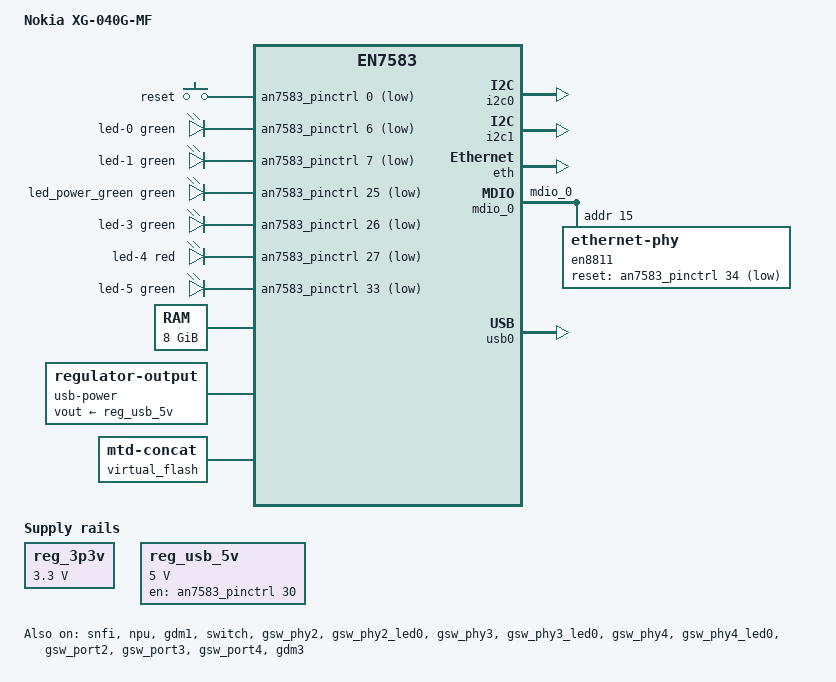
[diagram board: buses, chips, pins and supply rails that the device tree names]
// SPDX-License-Identifier: (GPL-2.0-only OR BSD-2-Clause)
/dts-v1/;

#include <dt-bindings/leds/common.h>
#include <dt-bindings/gpio/gpio.h>
#include <dt-bindings/input/input.h>
#include "an7583.dtsi"

/ {
	model = "Nokia XG-040G-MF";
	compatible = "nokia,xg-040g-mf", "airoha,an7583", "airoha,en7583";

	aliases {
		label-mac-device = &gdm1;

		led-boot = &led_power_green;
		led-failsafe = &led_power_green;
		led-running = &led_power_green;
		led-upgrade = &led_power_green;

		serial0 = &uart1;
	};

	chosen {
		bootargs = "console=ttyS0,115200 earlycon nokaslr rodata=off mem=510M";
		stdout-path = "serial0:115200n8";
	};

	gpio-keys {
		compatible = "gpio-keys";

		button-0 {
			label = "reset";
			linux,code = <KEY_RESTART>;
			gpios = <&an7583_pinctrl 0 GPIO_ACTIVE_LOW>;
		};
	};

	leds {
		compatible = "gpio-leds";

		led-0 {
			color = <LED_COLOR_ID_GREEN>;
			function = LED_FUNCTION_WAN;
			gpios = <&an7583_pinctrl 6 GPIO_ACTIVE_LOW>;
		};

		led-1 {
			color = <LED_COLOR_ID_GREEN>;
			function = LED_FUNCTION_WAN_ONLINE;
			gpios = <&an7583_pinctrl 7 GPIO_ACTIVE_LOW>;
		};

		led_power_green: led-2 {
			color = <LED_COLOR_ID_GREEN>;
			function = LED_FUNCTION_POWER;
			gpios = <&an7583_pinctrl 25 GPIO_ACTIVE_LOW>;
		};

		led-3 {
			color = <LED_COLOR_ID_GREEN>;
			function = LED_FUNCTION_USB;
			function-enumerator = <1>;
			gpios = <&an7583_pinctrl 26 GPIO_ACTIVE_LOW>;
			linux,default-trigger = "usbport";
			trigger-sources = <&usb_port1>;
		};

		led-4 {
			color = <LED_COLOR_ID_RED>;
			function = LED_FUNCTION_WAN;
			gpios = <&an7583_pinctrl 27 GPIO_ACTIVE_LOW>;
			panic-indicator;
		};

		led-5 {
			color = <LED_COLOR_ID_GREEN>;
			function = LED_FUNCTION_USB;
			function-enumerator = <2>;
			gpios = <&an7583_pinctrl 33 GPIO_ACTIVE_LOW>;
			linux,default-trigger = "usbport";
			trigger-sources = <&usb_port2>;
		};
	};

	memory@80000000 {
		device_type = "memory";
		reg = <0x0 0x80000000 0x2 0x00000000>;
	};

	reg_3p3v: regulator-3p3v {
		compatible = "regulator-fixed";
		regulator-always-on;
		regulator-boot-on;
		regulator-max-microvolt = <3300000>;
		regulator-min-microvolt = <3300000>;
		regulator-name = "fixed-3.3V";
	};

	reg_usb_5v: regulator-usb-5v {
		compatible = "regulator-fixed";
		enable-active-high;
		gpio = <&an7583_pinctrl 30 GPIO_ACTIVE_HIGH>;
		regulator-boot-on;
		regulator-max-microvolt = <5000000>;
		regulator-min-microvolt = <5000000>;
		regulator-name = "usb-5v";
	};

	usb-power {
		compatible = "regulator-output";
		vout-supply = <&reg_usb_5v>;
	};

	virtual_flash {
		compatible = "mtd-concat";
		devices = <&ubi3 &ubi1 &ubi2 &ubi4 &ubi5>;

		partitions {
			compatible = "fixed-partitions";
			#address-cells = <1>;
			#size-cells = <1>;

			partition@0 {
				label = "ubi";
				reg = <0x0 0x0>;
			};
		};
	};
};

&an7583_pinctrl {
	gpio-ranges = <&an7583_pinctrl 0 2 53>;

	mdio0_pins: mdio0-pins {
		conf {
			pins = "mdio_0";
			output-high;
		};
	};

	pcie0_rst_pins: pcie0-rst-pins {
		conf {
			pins = "pcie_reset0";
			drive-open-drain = <1>;
		};
	};

	pcie1_rst_pins: pcie1-rst-pins {
		conf {
			pins = "pcie_reset1";
			drive-open-drain = <1>;
		};
	};

	gswp1_led0_pins: gswp1-led0-pins {
		mux {
			function = "phy1_led0";
			pins = "gpio1";
		};
	};

	gswp2_led0_pins: gswp2-led0-pins {
		mux {
			function = "phy2_led0";
			pins = "gpio2";
		};
	};

	gswp3_led0_pins: gswp3-led0-pins {
		mux {
			function = "phy3_led0";
			pins = "gpio3";
		};
	};

	gswp4_led0_pins: gswp4-led0-pins {
		mux {
			function = "phy4_led0";
			pins = "gpio4";
		};
	};
};

&snfi {
	status = "okay";
};

/*
 * GigaDevice GD5F2GM7UEYIG
 */
&spi_nand {
	/*
	 * Change or add this line
	 */
	nand-ecc-mode = "none";

	nand-on-flash-bbt;

	partitions {
		compatible = "fixed-partitions";
		#address-cells = <1>;
		#size-cells = <1>;

		partition@0_all {
			label = "all_flash";
			reg = <0x0 0x10000000>;
			read-only;
		};

		partition@0 {
			label = "bootloader";
			reg = <0x0 0x80000>;
			read-only;

			compatible = "fixed-partitions";
			#address-cells = <1>;
			#size-cells = <1>;

			partition@0 {
				label = "u-boot";
				reg = <0x0 0x60000>;
				read-only;
			};

			partition@60000 {
				label = "u-boot-env";
				reg = <0x60000 0x20000>;
				read-only;
			};
		};

		partition@80000 {
			label = "romfile";
			reg = <0x80000 0x40000>;
			read-only;
		};

		partition@c0000 {
			label = "kernel";
			reg = <0xc0000 0x2880000>;
		};

		ubi1: partition@2940000 {
			label = "nsb_slave";
			reg = <0x2940000 0x2880000>;
		};

		partition@51c0000 {
			label = "bosa";
			reg = <0x51c0000 0x40000>;
			read-only;
		};

		factory: partition@5200000 {
			label = "ri";
			reg = <0x5200000 0x40000>;
			read-only;
		};

		partition@5240000 {
			label = "flag";
			reg = <0x5240000 0x40000>;
			read-only;
		};

		partition@5280000 {
			label = "flagback";
			reg = <0x5280000 0x40000>;
			read-only;
		};

		ubi2: partition@52c0000 {
			label = "config";
			reg = <0x52c0000 0xa00000>;
		};

		ubi3: partition@5cc0000 {
			label = "data";
			reg = <0x5cc0000 0x80e0000>;
		};

		ubi4: partition@dda0000 {
			label = "oopsfs";
			reg = <0xdda0000 0x400000>;
		};

		partition@e1a0000 {
			label = "log";
			reg = <0xe1a0000 0xa00000>;

			compatible = "fixed-partitions";
			#address-cells = <1>;
			#size-cells = <1>;

			ubi5: partition@0 {
				label = "log_truncated";
				reg = <0x0 0x9c0000>;
			};

			/*
			 * Must be excluded from ubi. Otherwise the data
			 * will be broken after U-Boot 'bootflag swap'
			 * command call. This command writes bootflag at
			 * 0xeb60000 (boot_flag_addr).
			 */
			partition@9c0000 {
				label = "bootflag";
				reg = <0x9c0000 0x40000>;
				read-only;
			};
		};

		partition@eba0000 {
			label = "reserved_bmt";
			reg = <0xeba0000 0x1460000>;
			read-only;
		};
	};
};

&factory {
	nvmem-layout {
		compatible = "fixed-layout";
		#address-cells = <1>;
		#size-cells = <1>;

		macaddr_factory_3e: macaddr@3e {
			compatible = "mac-base";
			reg = <0x3e 0x6>;
			#nvmem-cell-cells = <1>;
		};
	};
};

&i2c0 {
	status = "okay";
};

&i2c1 {
	status = "okay";
};

&npu {
	status = "okay";
};

&eth {
	status = "okay";
};

&gdm1 {
	status = "okay";

	nvmem-cell-names = "mac-address";
	nvmem-cells = <&macaddr_factory_3e (0)>;
};

&switch {
	status = "okay";
};

&gsw_phy1 {
	status = "disabled";
};

&gsw_phy2 {
	pinctrl-names = "gbe-led";
	pinctrl-0 = <&gswp2_led0_pins>;

	status = "okay";
};

&gsw_phy2_led0 {
	status = "okay";
	color = <LED_COLOR_ID_GREEN>;
	function = LED_FUNCTION_LAN;
	active-low;
};

&gsw_phy3 {
	pinctrl-names = "gbe-led";
	pinctrl-0 = <&gswp3_led0_pins>;

	status = "okay";
};

&gsw_phy3_led0 {
	status = "okay";
	color = <LED_COLOR_ID_GREEN>;
	function = LED_FUNCTION_LAN;
	active-low;
};

&gsw_phy4 {
	pinctrl-names = "gbe-led";
	pinctrl-0 = <&gswp4_led0_pins>;

	status = "okay";
};

&gsw_phy4_led0 {
	status = "okay";
	color = <LED_COLOR_ID_GREEN>;
	function = LED_FUNCTION_LAN;
	active-low;
};

&gsw_port1 {
	status = "disabled";
};

&gsw_port2 {
	status = "okay";
};

&gsw_port3 {
	status = "okay";
};

&gsw_port4 {
	status = "okay";
};

&mdio_0 {
	pinctrl-names = "default";
	pinctrl-0 = <&mdio0_pins>;

	en8811: ethernet-phy@f {
		reg = <0xf>;

		reset-gpios = <&an7583_pinctrl 34 GPIO_ACTIVE_LOW>;
		reset-assert-us = <10000>;
		reset-deassert-us = <20000>;

		leds {
			#address-cells = <1>;
			#size-cells = <0>;

			led-0 {
				reg = <0>;
				color = <LED_COLOR_ID_GREEN>;
				function = LED_FUNCTION_LAN;
				function-enumerator = <1>;
				default-state = "keep";
			};
		};
	};
};

&gdm3 {
	status = "okay";

	openwrt,netdev-name = "lan1";

	phy-handle = <&en8811>;
	phy-mode = "2500base-x";

	nvmem-cell-names = "mac-address";
	nvmem-cells = <&macaddr_factory_3e (0)>;
};

&usb0 {
	status = "okay";
	#address-cells = <1>;
	#size-cells = <0>;

	vusb33-supply = <&reg_3p3v>;

	usb_port1: port@1 {
		reg = <1>;
		#trigger-source-cells = <0>;
	};

	usb_port2: port@2 {
		reg = <2>;
		#trigger-source-cells = <0>;
	};
};
